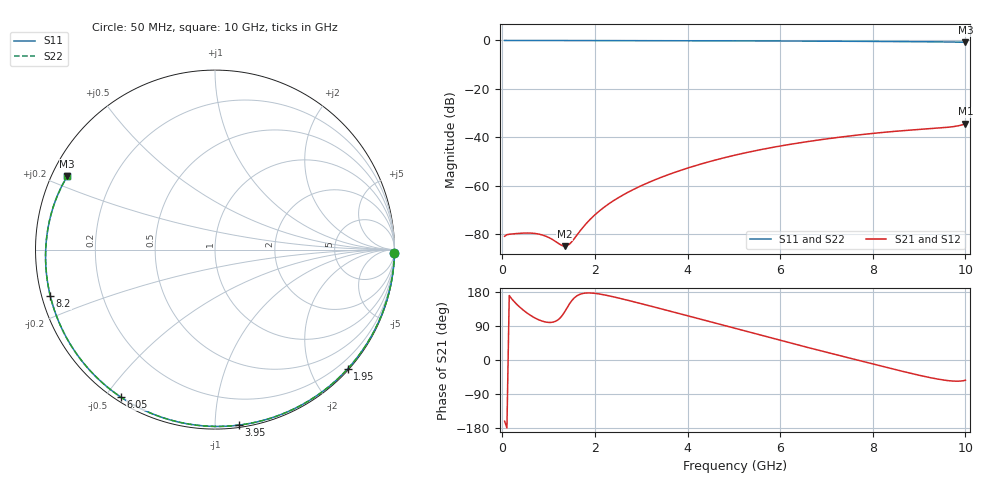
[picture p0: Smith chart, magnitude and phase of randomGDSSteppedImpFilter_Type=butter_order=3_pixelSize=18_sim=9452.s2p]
! freq	dB(S11)	phase(S11)	dB(S12)	phase(S12)
!  dB(S21)	phase(S21)	dB(S22)	phase(S22)
!S-par simulation data
#  GHz  S  DB  R 50
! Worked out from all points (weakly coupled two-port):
!   200 points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, 50 MHz to 10 GHz, reference 50 ohm
!   highest |S21| = -34.40 dB at 10 GHz (marker M1); lowest = -85.0 dB at 1.35 GHz (marker M2)
!   lowest |S11| = -0.7 dB at 10 GHz (marker M3), VSWR 23.52, Z = 2.24 + j11.7 ohm
!   |S11| at or under -10 dB: nowhere
!   |S22| runs from -0.7 to 0.0 dB; largest |S21 - S12| = 0
!   S11 on the Smith chart (normalised r, x): 50 MHz: open; 1.95 GHz: 0.02, -2.61; 3.95 GHz: 0.02, -1.14; 6.05 GHz: 0.02, -0.55; 8.2 GHz: 0.02, -0.14; 10 GHz: 0.04, +0.23
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0.05  -0.00 -1.1  -80.87 -161.5  -80.87 -161.5  -0.00 -1.1
0.7  -0.02 -15.3  -79.70 111.3  -79.70 111.3  -0.02 -15.3
1.35  -0.04 -29.2  -84.96 127.7  -84.96 127.7  -0.04 -29.2
1.6  -0.04 -34.5  -80.68 168.4  -80.68 168.4  -0.04 -34.5
1.65  -0.05 -35.6  -79.40 172.0  -79.40 172.0  -0.05 -35.6
1.75  -0.05 -37.7  -77.00 175.8  -77.00 175.8  -0.05 -37.7
1.95  -0.05 -41.9  -72.90 176.5  -72.90 176.5  -0.05 -41.9
2.2  -0.06 -47.1  -68.86 171.9  -68.86 171.9  -0.06 -47.1
2.55  -0.07 -54.3  -64.45 162.4  -64.45 162.4  -0.07 -54.3
2.95  -0.08 -62.5  -60.45 150.2  -60.45 150.2  -0.08 -62.5
3.4  -0.10 -71.5  -56.76 136.0  -56.76 136.0  -0.10 -71.5
3.95  -0.11 -82.3  -53.03 118.4  -53.03 118.4  -0.11 -82.4
4.5  -0.14 -93.0  -49.90 100.6  -49.90 100.6  -0.14 -93.0
5.05  -0.16 -103.5  -47.26 82.7  -47.26 82.7  -0.16 -103.5
6.05  -0.22 -122.4  -43.44 50.3  -43.44 50.3  -0.22 -122.4
6.7  -0.27 -134.7  -41.47 29.8  -41.47 29.8  -0.27 -134.8
7.5  -0.34 -150.2  -39.45 5.0  -39.45 5.0  -0.34 -150.3
8.2  -0.42 -164.4  -38.01 -16.5  -38.01 -16.5  -0.42 -164.4
8.35  -0.43 -167.5  -37.75 -21.1  -37.75 -21.1  -0.43 -167.5
9.25  -0.56 172.6  -36.44 -46.8  -36.44 -46.8  -0.56 172.6
9.75  -0.65 160.4  -35.56 -55.7  -35.56 -55.7  -0.66 160.3
10  -0.74 153.6  -34.40 -53.6  -34.40 -53.6  -0.74 153.6
